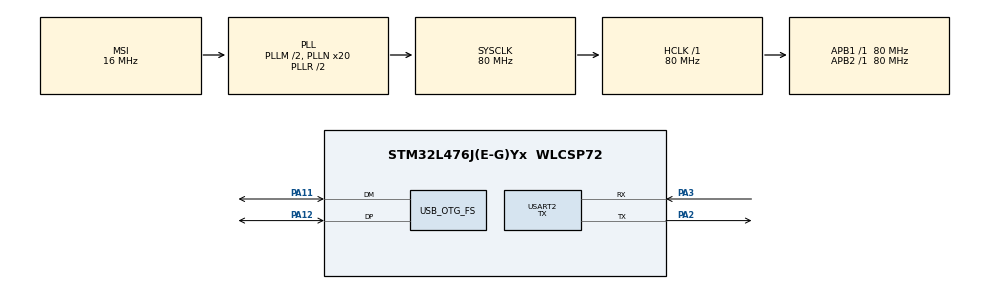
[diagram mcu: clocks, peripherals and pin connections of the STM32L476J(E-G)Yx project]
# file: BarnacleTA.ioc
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Mcu.Family=STM32L4
Mcu.Name=STM32L476J(E-G)Yx
Mcu.Package=WLCSP72
NVIC.OTG_FS_IRQn=true\:0\:0\:false\:false\:true\:true
NVIC.PriorityGroup=NVIC_PRIORITYGROUP_4
PA11.Mode=Device_Only
PA11.Signal=USB_OTG_FS_DM
PA12.Mode=Device_Only
PA12.Signal=USB_OTG_FS_DP
PA13.Mode=Trace_Asynchronous_SW
PA13.Signal=SYS_JTMS-SWDIO
PA14.Mode=Trace_Asynchronous_SW
PA14.Signal=SYS_JTCK-SWCLK
PA2.Mode=Asynchronous
PA2.Signal=USART2_TX
PA3.Mode=Asynchronous
PA3.Signal=USART2_RX
PB3.Mode=Trace_Asynchronous_SW
PB3.Signal=SYS_JTDO-SWO
ProjectManager.HeapSize=0x1000
ProjectManager.StackSize=0x1000
ProjectManager.TargetToolchain=TrueSTUDIO
RCC.ADCFreq_Value=48000000
RCC.AHBFreq_Value=80000000
RCC.APB1Freq_Value=80000000
RCC.APB1TimFreq_Value=80000000
RCC.APB2Freq_Value=80000000
RCC.APB2TimFreq_Value=80000000
RCC.CortexFreq_Value=80000000
RCC.HCLKFreq_Value=80000000
RCC.HSE_VALUE=8000000
RCC.HSI_VALUE=16000000
RCC.LSE_VALUE=32768
RCC.MSIClockRange=RCC_MSIRANGE_8
RCC.MSI_VALUE=16000000
RCC.PLLM=2
RCC.PLLN=20
RCC.PLLSAI1N=12
RCC.SYSCLKFreq_VALUE=80000000
RCC.SYSCLKSource=RCC_SYSCLKSOURCE_PLLCLK
RCC.USBFreq_Value=48000000
RCC.VCOOutputFreq_Value=160000000
USART2.Mode=MODE_TX
USART2.VirtualMode-Asynchronous=VM_ASYNC
USART2.WordLength=UART_WORDLENGTH_8B
USB_DEVICE.CLASS_NAME_FS=CDC
USB_DEVICE.VirtualModeFS=Cdc_FS
USB_OTG_FS.VirtualMode=Device_Only
USB_OTG_FS.vbus_sensing_enable=DISABLE
VP_RNG_VS_RNG.Mode=RNG_Activate
VP_USB_DEVICE_VS_USB_DEVICE_CDC_FS.Mode=CDC_FS
board=BarnacleTA

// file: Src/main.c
/**
  ******************************************************************************
  * File Name          : main.c
  * Description        : Main program body
  ******************************************************************************
  *
  * Copyright (c) 2017 STMicroelectronics International N.V.
  * All rights reserved.
  *
  * Redistribution and use in source and binary forms, with or without
  * modification, are permitted, provided that the following conditions are met:
  *
  * 1. Redistribution of source code must retain the above copyright notice,
  *    this list of conditions and the following disclaimer.
  * 2. Redistributions in binary form must reproduce the above copyright notice,
  *    this list of conditions and the following disclaimer in the documentation
  *    and/or other materials provided with the distribution.
  * 3. Neither the name of STMicroelectronics nor the names of other
  *    contributors to this software may be used to endorse or promote products
  *    derived from this software without specific written permission.
  * 4. This software, including modifications and/or derivative works of this
  *    software, must execute solely and exclusively on microcontroller or
  *    microprocessor devices manufactured by or for STMicroelectronics.
  * 5. Redistribution and use of this software other than as permitted under
  *    this license is void and will automatically terminate your rights under
  *    this license.
  *
  * THIS SOFTWARE IS PROVIDED BY STMICROELECTRONICS AND CONTRIBUTORS "AS IS"
  * AND ANY EXPRESS, IMPLIED OR STATUTORY WARRANTIES, INCLUDING, BUT NOT
  * LIMITED TO, THE IMPLIED WARRANTIES OF MERCHANTABILITY, FITNESS FOR A
  * PARTICULAR PURPOSE AND NON-INFRINGEMENT OF THIRD PARTY INTELLECTUAL PROPERTY
  * RIGHTS ARE DISCLAIMED TO THE FULLEST EXTENT PERMITTED BY LAW. IN NO EVENT
  * SHALL STMICROELECTRONICS OR CONTRIBUTORS BE LIABLE FOR ANY DIRECT, INDIRECT,
  * INCIDENTAL, SPECIAL, EXEMPLARY, OR CONSEQUENTIAL DAMAGES (INCLUDING, BUT NOT
  * LIMITED TO, PROCUREMENT OF SUBSTITUTE GOODS OR SERVICES; LOSS OF USE, DATA,
  * OR PROFITS; OR BUSINESS INTERRUPTION) HOWEVER CAUSED AND ON ANY THEORY OF
  * LIABILITY, WHETHER IN CONTRACT, STRICT LIABILITY, OR TORT (INCLUDING
  * NEGLIGENCE OR OTHERWISE) ARISING IN ANY WAY OUT OF THE USE OF THIS SOFTWARE,
  * EVEN IF ADVISED OF THE POSSIBILITY OF SUCH DAMAGE.
  *
  ******************************************************************************
  */
#include "main.h"
#include "stm32l4xx_hal.h"
#include "usb_device.h"

/* USER CODE BEGIN Includes */
#include <time.h>
#include <cyrep/RiotTarget.h>
#include <cyrep/RiotStatus.h>
#include "cyrep/RiotSha256.h"
#include <cyrep/RiotEcc.h>
#include <cyrep/RiotDerEnc.h>
#include <cyrep/RiotX509Bldr.h>
#include <cyrep/RiotCrypt.h>
#include <BarnacleTA.h>

/* USER CODE END Includes */

RNG_HandleTypeDef hrng;

#ifdef SERIALDEBUGPRINT
UART_HandleTypeDef huart2;
#endif

/* USER CODE BEGIN PV */
/* Private variables ---------------------------------------------------------*/

/* USER CODE END PV */

void SystemClock_Config(void);
void Error_Handler(void);
static void MX_GPIO_Init(void);
static void MX_RNG_Init(void);
#ifdef SERIALDEBUGPRINT
static void MX_USART2_UART_Init(void);
#endif

/* USER CODE BEGIN PFP */
/* Private function prototypes -----------------------------------------------*/

/* USER CODE END PFP */

int main(void)
{

  /* USER CODE BEGIN 1 */
  char agentPolicy[] = "This is the agent policy.\r\n";
  /* USER CODE END 1 */

  /* MCU Configuration----------------------------------------------------------*/

  /* Reset of all peripherals, Initializes the Flash interface and the Systick. */
  HAL_Init();

  /* Configure the system clock */
  SystemClock_Config();

  /* Initialize all configured peripherals */
  MX_GPIO_Init();
  MX_USB_DEVICE_Init();
  MX_RNG_Init();
#ifdef SERIALDEBUGPRINT
  MX_USART2_UART_Init();
#endif

  /* USER CODE BEGIN 2 */
  char* dateStr = asctime(localtime((time_t*)&AgentHdr.s.sign.agent.issued));
  dateStr[24] = '\0';
  fprintf(stderr, "================\r\n"
                  "Barnacle Agent\r\n"
                  "================\r\n"
                  "%s (%u bytes, V%d.%d, %s)\r\n",
                  AgentHdr.s.sign.agent.name,
                  (unsigned int)AgentHdr.s.sign.agent.size,
                  (short unsigned int)AgentHdr.s.sign.agent.version >> 16,
                  (short unsigned int)AgentHdr.s.sign.agent.version % 0x0000ffff,
                  dateStr);

  dbgPrint("INFO: DeviceID is \r\n0x");
  {
      uint8_t devicePub[65] = {0};
      RiotCrypt_ExportEccPub((RIOT_ECC_PUBLIC*)&pCertStore->info.devicePubKey, devicePub, NULL);
      for(uint32_t n = 0; n < sizeof(devicePub); n++)
      {
          if (!((n + 1) % 22) && (n > 0)) dbgPrint("\r\n");
          dbgPrint("%02x", devicePub[n]);
      }
  }
  dbgPrint("\r\n");

  // Issue policy based end cert
  if(!BarnacleTADerivePolicyIdentity((uint8_t*)agentPolicy, sizeof(agentPolicy)))
  {
      dbgPrint("ERROR: BarnacleDerivePolicyIdentity failed.\r\n");
      Error_Handler();
  }
  BarnacleTAPrintCertStore();
  /* USER CODE END 2 */

  /* Infinite loop */
  /* USER CODE BEGIN WHILE */
  while (1)
  {
      uint32_t trigger = HAL_RNG_GetRandomNumber(&hrng);
  /* USER CODE END WHILE */

  /* USER CODE BEGIN 3 */
      HAL_Delay(5000);
      fprintf(stderr, "Hello World! (0x%08x)\r\n", (unsigned int)trigger);
      if((trigger & 0x0000000f) == 0x0f)
      {
          uint32_t* pAttack = (uint32_t*)0x080fe000;
          fprintf(stderr, "Simulating Attack...\r\n");
          HAL_Delay(1);
          trigger = *pAttack;
      }

  }
  /* USER CODE END 3 */

}

/** System Clock Configuration
*/
void SystemClock_Config(void)
{

  RCC_OscInitTypeDef RCC_OscInitStruct;
  RCC_ClkInitTypeDef RCC_ClkInitStruct;
  RCC_PeriphCLKInitTypeDef PeriphClkInit;

    /**Initializes the CPU, AHB and APB busses clocks
    */
  RCC_OscInitStruct.OscillatorType = RCC_OSCILLATORTYPE_MSI;
  RCC_OscInitStruct.MSIState = RCC_MSI_ON;
  RCC_OscInitStruct.MSICalibrationValue = 0;
  RCC_OscInitStruct.MSIClockRange = RCC_MSIRANGE_8;
  RCC_OscInitStruct.PLL.PLLState = RCC_PLL_ON;
  RCC_OscInitStruct.PLL.PLLSource = RCC_PLLSOURCE_MSI;
  RCC_OscInitStruct.PLL.PLLM = 2;
  RCC_OscInitStruct.PLL.PLLN = 20;
  RCC_OscInitStruct.PLL.PLLP = RCC_PLLP_DIV7;
  RCC_OscInitStruct.PLL.PLLQ = RCC_PLLQ_DIV2;
  RCC_OscInitStruct.PLL.PLLR = RCC_PLLR_DIV2;
  if (HAL_RCC_OscConfig(&RCC_OscInitStruct) != HAL_OK)
  {
    Error_Handler();
  }

    /**Initializes the CPU, AHB and APB busses clocks
    */
  RCC_ClkInitStruct.ClockType = RCC_CLOCKTYPE_HCLK|RCC_CLOCKTYPE_SYSCLK
                              |RCC_CLOCKTYPE_PCLK1|RCC_CLOCKTYPE_PCLK2;
  RCC_ClkInitStruct.SYSCLKSource = RCC_SYSCLKSOURCE_PLLCLK;
  RCC_ClkInitStruct.AHBCLKDivider = RCC_SYSCLK_DIV1;
  RCC_ClkInitStruct.APB1CLKDivider = RCC_HCLK_DIV1;
  RCC_ClkInitStruct.APB2CLKDivider = RCC_HCLK_DIV1;

  if (HAL_RCC_ClockConfig(&RCC_ClkInitStruct, FLASH_LATENCY_4) != HAL_OK)
  {
    Error_Handler();
  }

  PeriphClkInit.PeriphClockSelection = RCC_PERIPHCLK_USART2|RCC_PERIPHCLK_USB
                              |RCC_PERIPHCLK_RNG;
  PeriphClkInit.Usart2ClockSelection = RCC_USART2CLKSOURCE_PCLK1;
  PeriphClkInit.UsbClockSelection = RCC_USBCLKSOURCE_PLLSAI1;
  PeriphClkInit.RngClockSelection = RCC_RNGCLKSOURCE_PLLSAI1;
  PeriphClkInit.PLLSAI1.PLLSAI1Source = RCC_PLLSOURCE_MSI;
  PeriphClkInit.PLLSAI1.PLLSAI1M = 2;
  PeriphClkInit.PLLSAI1.PLLSAI1N = 12;
  PeriphClkInit.PLLSAI1.PLLSAI1P = RCC_PLLP_DIV7;
  PeriphClkInit.PLLSAI1.PLLSAI1Q = RCC_PLLQ_DIV2;
  PeriphClkInit.PLLSAI1.PLLSAI1R = RCC_PLLR_DIV2;
  PeriphClkInit.PLLSAI1.PLLSAI1ClockOut = RCC_PLLSAI1_48M2CLK;
  if (HAL_RCCEx_PeriphCLKConfig(&PeriphClkInit) != HAL_OK)
  {
    Error_Handler();
  }

    /**Configure the main internal regulator output voltage
    */
  if (HAL_PWREx_ControlVoltageScaling(PWR_REGULATOR_VOLTAGE_SCALE1) != HAL_OK)
  {
    Error_Handler();
  }

    /**Configure the Systick interrupt time
    */
  HAL_SYSTICK_Config(HAL_RCC_GetHCLKFreq()/1000);

    /**Configure the Systick
    */
  HAL_SYSTICK_CLKSourceConfig(SYSTICK_CLKSOURCE_HCLK);

  /* SysTick_IRQn interrupt configuration */
  HAL_NVIC_SetPriority(SysTick_IRQn, 0, 0);
}

/* RNG init function */
static void MX_RNG_Init(void)
{

  hrng.Instance = RNG;
  if (HAL_RNG_Init(&hrng) != HAL_OK)
  {
    Error_Handler();
  }

}

/* USART2 init function */
#ifdef SERIALDEBUGPRINT
static void MX_USART2_UART_Init(void)
{

  huart2.Instance = USART2;
  huart2.Init.BaudRate = 115200;
  huart2.Init.WordLength = UART_WORDLENGTH_8B;
  huart2.Init.StopBits = UART_STOPBITS_1;
  huart2.Init.Parity = UART_PARITY_NONE;
  huart2.Init.Mode = UART_MODE_TX;
  huart2.Init.HwFlowCtl = UART_HWCONTROL_NONE;
  huart2.Init.OverSampling = UART_OVERSAMPLING_16;
  huart2.Init.OneBitSampling = UART_ONE_BIT_SAMPLE_DISABLE;
  huart2.AdvancedInit.AdvFeatureInit = UART_ADVFEATURE_NO_INIT;
  if (HAL_UART_Init(&huart2) != HAL_OK)
  {
    Error_Handler();
  }

}
#endif
/** Configure pins as
        * Analog
        * Input
        * Output
        * EVENT_OUT
        * EXTI
*/
static void MX_GPIO_Init(void)
{

  /* GPIO Ports Clock Enable */
  __HAL_RCC_GPIOB_CLK_ENABLE();
  __HAL_RCC_GPIOA_CLK_ENABLE();

}

void Error_Handler(void)
{
  while(1)
  {
  }
}

/************************ (C) COPYRIGHT STMicroelectronics *****END OF FILE****/
